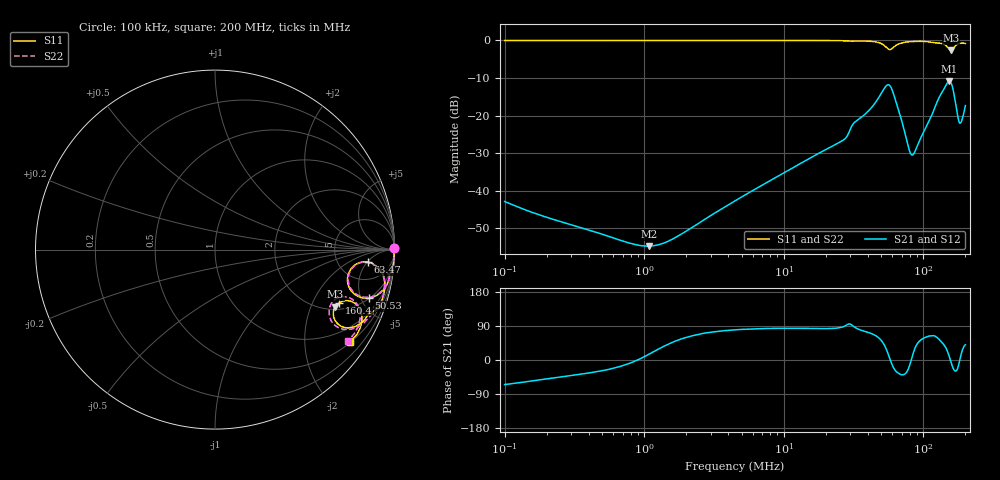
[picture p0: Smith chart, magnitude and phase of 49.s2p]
#  HZ  S  RI  R  50.00
! Rohde & Schwarz Vector Network Analyzer
! Rohde-Schwarz,ZNLE6-2Port,1323001256200024,1.71.1.10-23.02.1.238
! Created: UTC 4/7/2025, 2:04:57 AM
! freq[Hz]  re:S11  im:S11  re:S21  im:S21  re:S12  im:S12  re:S22  im:S22
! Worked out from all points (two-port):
!   1001 points, 100 kHz to 200 MHz, reference 50 ohm
!   highest |S21| = -10.86 dB at 153.3 MHz (marker M1); lowest = -54.8 dB at 1.079 MHz (marker M2)
!   |S21| within 3 dB of the highest: 50.37 MHz to 60.67 MHz (10.29 MHz wide, 18.5 % of centre); 135.8 MHz to 164.8 MHz (28.99 MHz wide, 19.3 % of centre)
!   lowest |S11| = -2.6 dB at 158 MHz (marker M3), VSWR 6.74, Z = 107 - j151 ohm
!   |S11| at or under -10 dB: nowhere
!   |S22| runs from -2.9 to 0.0 dB; largest |S21 - S12| = 0.0061
!   S11 on the Smith chart (normalised r, x): 100 kHz: open; 50.53 MHz: 2.07, -5.79; 63.47 MHz: 10, -5; 160.4 MHz: 2.38, -3.26; 200 MHz: 0.54, -3.15
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100000  0.9972 0.00635  0.00304 -0.00648  0.00306 -0.0065  0.9971 0.0062
355854.1  0.9976 0.00101  0.00256 -0.00193  0.00256 -0.00193  0.9974 0.00098
1079499  0.9983 -0.00331  0.00176 0.000475  0.00177 0.000476  0.9983 -0.0033
1266322  0.9984 -0.00422  0.00167 0.000918  0.00167 0.000922  0.9984 -0.00423
4472136  0.9984 -0.0195  0.00133 0.0072  0.00137 0.0072  0.9986 -0.0189
1.591428e7  0.9953 -0.0698  0.00322 0.0278  0.00338 0.0278  0.9954 -0.0712
2.729984e7  0.9801 -0.1285  0.000565 0.0486  0.00077 0.0486  0.9753 -0.1318
3.178196e7  0.9714 -0.1389  0.0027 0.0794  0.00272 0.0791  0.9661 -0.1338
4.146835e7  0.9522 -0.2044  0.0392 0.1146  0.0408 0.1134  0.9532 -0.2003
5.052933e7  0.8569 -0.2697  0.1338 0.1549  0.1358 0.152  0.8596 -0.2653
5.663162e7  0.7383 -0.1767  0.2516 0.0458  0.2518 0.0413  0.7426 -0.1738
6.347087e7  0.8541 -0.0698  0.1351 -0.0756  0.1347 -0.0766  0.854 -0.0723
7.852416e7  0.9445 -0.17  0.0342 -0.0131  0.0342 -0.0145  0.9432 -0.172
8.408385e7  0.946 -0.2041  0.029 0.00769  0.0288 0.00633  0.9438 -0.2075
1.20188e8  0.856 -0.363  0.0557 0.1118  0.0565 0.1109  0.8599 -0.3745
1.409882e8  0.7704 -0.4318  0.1781 0.144  0.1786 0.1423  0.7543 -0.4439
1.53283e8  0.6633 -0.3813  0.2824 0.0473  0.2808 0.042  0.6379 -0.3686
1.580149e8  0.6697 -0.3187  0.2713 -0.0304  0.2684 -0.0356  0.6475 -0.3011
1.604354e8  0.6933 -0.2956  0.2443 -0.0614  0.2409 -0.0664  0.6732 -0.2753
1.811826e8  0.8172 -0.4017  0.0801 -0.00647  0.08 -0.00895  0.8075 -0.3885
1.882009e8  0.8018 -0.4515  0.0798 0.0302  0.0809 0.0277  0.7902 -0.4425
2e8  0.7494 -0.5132  0.1039 0.0876  0.1071 0.0858  0.7401 -0.5101
